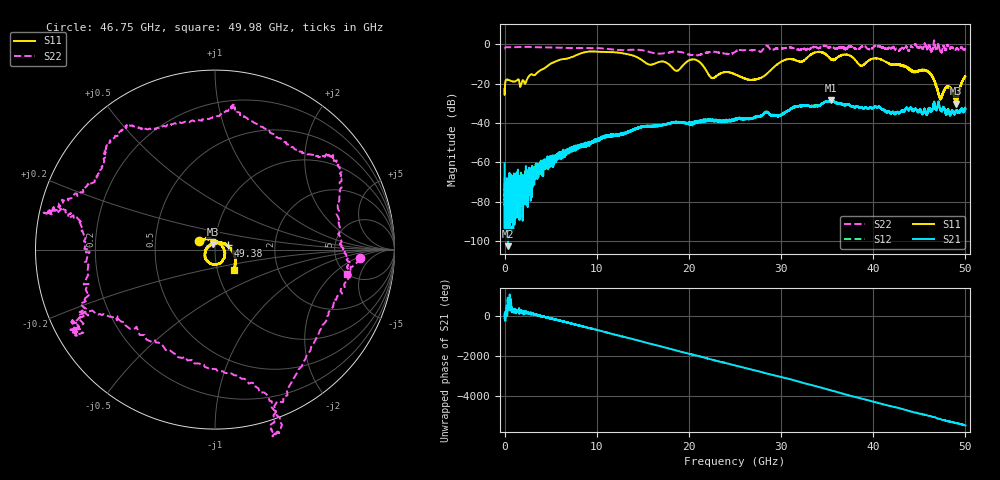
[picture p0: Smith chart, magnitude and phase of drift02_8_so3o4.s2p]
!Created with skrf (http://scikit-rf.org).
# Hz S RI R 50.0
!freq ReS11 ImS11 ReS21 ImS21 ReS12 ImS12 ReS22 ImS22
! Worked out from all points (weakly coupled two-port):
!   10001 points, 300 kHz to 50 GHz, reference 50 ohm
!   highest |S21| = -28.55 dB at 35.45 GHz (marker M1); lowest = -102.6 dB at 360.3 MHz (marker M2)
!   lowest |S11| = -30.2 dB at 49.02 GHz (marker M3), VSWR 1.06, Z = 48.8 + j2.78 ohm
!   |S11| at or under -10 dB: start of sweep to 4.957 GHz; 21.38 GHz to 29.63 GHz (8.254 GHz wide, 32.4 % of centre); 41.84 GHz to end of sweep (the widest 3 of 11)
!   |S22| runs from -5.7 to 2.0 dB; largest |S21 - S12| = 0.0032
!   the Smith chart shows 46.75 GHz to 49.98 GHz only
!   S11 on the Smith chart (normalised r, x): 46.75 GHz: 0.83, +0.08; 49.38 GHz: 1.15, +0.05; 49.98 GHz: 1.20, -0.27
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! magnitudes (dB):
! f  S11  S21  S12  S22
! 300 kHz  -22.7  -60.5  -68.2  -2.1
! 360.3 MHz  -18.0  -102.6  -76.8  -1.4
! 1.87 GHz  -19.1  -67.2  -72.6  -1.3
! 3.705 GHz  -13.8  -62.2  -60.9  -1.5
! 8.335 GHz  -4.5  -52.1  -51.3  -1.9
! 16.67 GHz  -9.1  -41.4  -41.4  -4.7
! 18.69 GHz  -13.5  -39.6  -39.4  -3.7
! 20.6 GHz  -7.7  -40.6  -40.4  -5.6
! 22.5 GHz  -17.2  -38.8  -38.6  -3.8
! 25 GHz  -15.3  -37.7  -38.2  -3.9
! 27.44 GHz  -17.7  -36.8  -36.7  -3.1
! 33.34 GHz  -4.9  -31.4  -31.3  -1.6
! 35.45 GHz  -7.6  -28.6  -28.8  -1.6
! 41.67 GHz  -9.6  -34.2  -34.3  -1.9
! 45.77 GHz  -13.7  -35.9  -35.7  -1.9
! 46.75 GHz  -20.0  -32.2  -32.2  -1.8
! 47.27 GHz  -26.3  -32.7  -32.9  -3.4
! 48.15 GHz  -21.5  -33.4  -33.4  -0.9
! 49.02 GHz  -30.2  -33.8  -34.0  -2.2
! 49.38 GHz  -22.6  -33.7  -34.9  -2.8
! 49.98 GHz  -16.3  -32.1  -32.9  -2.5
! 50 GHz  -16.3  -32.9  -32.5  -2.7
